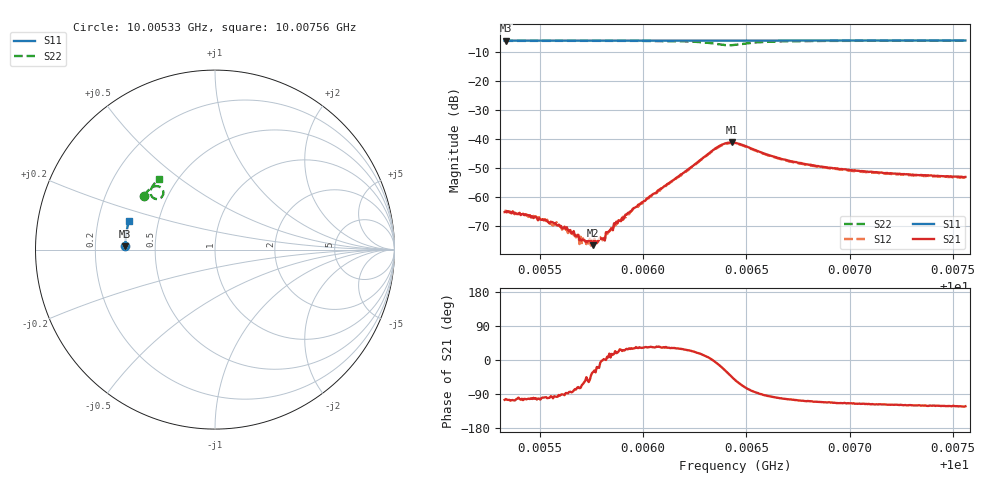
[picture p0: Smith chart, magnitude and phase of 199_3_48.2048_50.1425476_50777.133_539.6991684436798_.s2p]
#  HZ  S  RI  R  50.00
! Rohde & Schwarz Vector Network Analyzer
! Rohde-Schwarz,ZNB20-2Port,1311601062101988,3.16
! Created: UTC 3/20/2024, 11:44:58 AM
! freq[Hz]  re:S11  im:S11  re:S21  im:S21  re:S12  im:S12  re:S22  im:S22
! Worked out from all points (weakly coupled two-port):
!   401 points, 10.00533 GHz to 10.00756 GHz, reference 50 ohm
!   highest |S21| = -41.23 dB at 10.00643 GHz (marker M1); lowest = -76.8 dB at 10.00576 GHz (marker M2)
!   lowest |S11| = -6.0 dB at 10.00534 GHz (marker M3), VSWR 3.00, Z = 16.7 + j0.864 ohm
!   |S11| at or under -10 dB: nowhere
!   |S22| runs from -7.6 to -6.0 dB; largest |S21 - S12| = 0.00052
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1.0005331e10  -0.5001 0.019  -0.000141 -0.000524  -9.53e-05 -0.000557  -0.3967 0.2975
1.0005336e10  -0.4999 0.0194  -0.000124 -0.000532  -0.000128 -0.000559  -0.3966 0.2979
1.0005476e10  -0.4999 0.0285  -9.64e-05 -0.000443  -4.49e-05 -0.000437  -0.3907 0.3061
1.0005565e10  -0.4997 0.0342  -6.82e-05 -0.000352  -4.11e-05 -0.000315  -0.3866 0.3116
1.0005587e10  -0.4996 0.0357  -3.87e-05 -0.000316  -3.26e-05 -0.000309  -0.3857 0.3128
1.0005637e10  -0.4995 0.039  9.51e-06 -0.000265  1.68e-05 -0.000235  -0.3832 0.3159
1.0005704e10  -0.4992 0.0434  6.99e-05 -0.000161  8.44e-05 -0.000133  -0.3799 0.32
1.000576e10  -0.499 0.0471  0.000123 -7.51e-05  0.000127 -5.75e-05  -0.3769 0.3236
1.0005804e10  -0.4988 0.0498  0.000187 -3.59e-06  0.000176 -4.79e-06  -0.3745 0.3263
1.0005816e10  -0.4988 0.0506  0.000175 3.37e-06  0.000185 1.92e-05  -0.3738 0.3271
1.0005871e10  -0.4984 0.0543  0.000354 0.000114  0.000303 0.000136  -0.3705 0.3308
1.0005899e10  -0.4984 0.0558  0.000398 0.000176  0.000356 0.000169  -0.3686 0.3326
1.0005949e10  -0.4979 0.0593  0.000526 0.0003  0.000494 0.000323  -0.365 0.336
1.0006077e10  -0.4971 0.0676  0.00107 0.000768  0.00102 0.000772  -0.3534 0.3451
1.0006356e10  -0.4944 0.0853  0.00699 -0.00096  0.00684 -0.000576  -0.2894 0.3292
1.0006395e10  -0.4939 0.0876  0.00742 -0.00367  0.00744 -0.00321  -0.2898 0.3039
1.0006429e10  -0.4937 0.0896  0.00622 -0.00606  0.00636 -0.0056  -0.3051 0.2861
1.0006445e10  -0.4937 0.0904  0.00519 -0.00682  0.00543 -0.00635  -0.3157 0.2821
1.0006663e10  -0.4919 0.1045  -0.000879 -0.00452  -0.000665 -0.00445  -0.3589 0.3274
1.0006819e10  -0.4902 0.1144  -0.00114 -0.0033  -0.000981 -0.00329  -0.3519 0.3468
1.0007192e10  -0.4848 0.138  -0.00119 -0.00223  -0.00107 -0.00226  -0.3324 0.3733
1.000756e10  -0.4785 0.1608  -0.00117 -0.00186  -0.00105 -0.00185  -0.3134 0.3924
